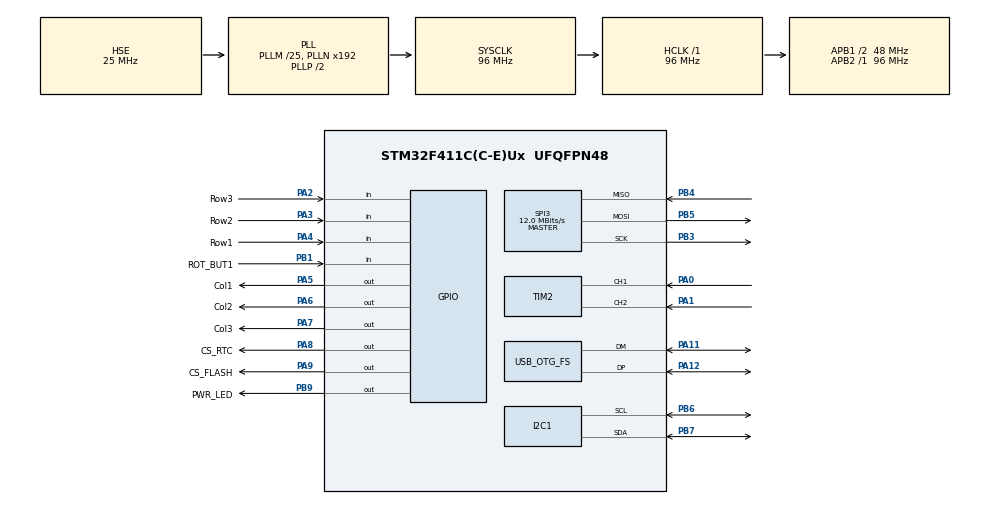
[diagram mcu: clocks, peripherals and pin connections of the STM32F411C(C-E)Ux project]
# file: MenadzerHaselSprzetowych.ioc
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I2C1.I2C_Mode=I2C_Fast
Mcu.Family=STM32F4
Mcu.Name=STM32F411C(C-E)Ux
Mcu.Package=UFQFPN48
NVIC.OTG_FS_IRQn=true\:0\:0\:false\:false\:true\:false\:true\:true
NVIC.PriorityGroup=NVIC_PRIORITYGROUP_4
PA0-WKUP.Signal=S_TIM2_CH1_ETR
PA1.Signal=S_TIM2_CH2
PA11.Mode=Device_Only
PA11.Signal=USB_OTG_FS_DM
PA12.Mode=Device_Only
PA12.Signal=USB_OTG_FS_DP
PA13.Mode=Serial_Wire
PA13.Signal=SYS_JTMS-SWDIO
PA14.Mode=Serial_Wire
PA14.Signal=SYS_JTCK-SWCLK
PA2.GPIO_Label=Row3
PA2.Signal=GPIO_Input
PA3.GPIO_Label=Row2
PA3.Signal=GPIO_Input
PA4.GPIO_Label=Row1
PA4.Signal=GPIO_Input
PA5.GPIO_Label=Col1
PA5.Signal=GPIO_Output
PA6.GPIO_Label=Col2
PA6.Signal=GPIO_Output
PA7.GPIO_Label=Col3
PA7.Signal=GPIO_Output
PA8.GPIO_Label=CS_RTC
PA8.Signal=GPIO_Output
PA9.GPIO_Label=CS_FLASH
PA9.Signal=GPIO_Output
PB1.GPIO_Label=ROT_BUT1
PB1.Signal=GPIO_Input
PB3.Mode=Full_Duplex_Master
PB3.Signal=SPI3_SCK
PB4.Mode=Full_Duplex_Master
PB4.Signal=SPI3_MISO
PB5.Mode=Full_Duplex_Master
PB5.Signal=SPI3_MOSI
PB6.GPIO_Pu=GPIO_NOPULL
PB6.Mode=I2C
PB6.Signal=I2C1_SCL
PB7.GPIO_Pu=GPIO_NOPULL
PB7.Mode=I2C
PB7.Signal=I2C1_SDA
PB9.GPIO_Label=PWR_LED
PB9.Signal=GPIO_Output
PC14-OSC32_IN.Mode=LSE-External-Oscillator
PC14-OSC32_IN.Signal=RCC_OSC32_IN
PC15-OSC32_OUT.Mode=LSE-External-Oscillator
PC15-OSC32_OUT.Signal=RCC_OSC32_OUT
PH0\ -\ OSC_IN.Mode=HSE-External-Oscillator
PH0\ -\ OSC_IN.Signal=RCC_OSC_IN
PH1\ -\ OSC_OUT.Mode=HSE-External-Oscillator
PH1\ -\ OSC_OUT.Signal=RCC_OSC_OUT
ProjectManager.HeapSize=0x200
ProjectManager.StackSize=0x400
ProjectManager.TargetToolchain=STM32CubeIDE
RCC.48MHZClocksFreq_Value=48000000
RCC.AHBFreq_Value=96000000
RCC.APB1CLKDivider=RCC_HCLK_DIV2
RCC.APB1Freq_Value=48000000
RCC.APB1TimFreq_Value=96000000
RCC.APB2Freq_Value=96000000
RCC.APB2TimFreq_Value=96000000
RCC.CortexFreq_Value=96000000
RCC.HCLKFreq_Value=96000000
RCC.HSE_VALUE=25000000
RCC.HSI_VALUE=16000000
RCC.PLLM=25
RCC.PLLSourceVirtual=RCC_PLLSOURCE_HSE
RCC.SYSCLKFreq_VALUE=96000000
RCC.SYSCLKSource=RCC_SYSCLKSOURCE_PLLCLK
RCC.VCOOutputFreq_Value=192000000
SH.S_TIM2_CH1_ETR.0=TIM2_CH1,Encoder_Interface
SH.S_TIM2_CH2.0=TIM2_CH2,Encoder_Interface
SPI3.BaudRatePrescaler=SPI_BAUDRATEPRESCALER_4
SPI3.CalculateBaudRate=12.0 MBits/s
SPI3.Direction=SPI_DIRECTION_2LINES
SPI3.Mode=SPI_MODE_MASTER
SPI3.VirtualType=VM_MASTER
TIM2.AutoReloadPreload=TIM_AUTORELOAD_PRELOAD_ENABLE
TIM2.EncoderMode=TIM_ENCODERMODE_TI12
TIM2.IC1Filter=10
TIM2.IC2Filter=10
USB_DEVICE.CLASS_NAME_FS=CUSTOM_HID
USB_DEVICE.PRODUCT_STRING_CUSTOMHID_FS=STM32 MHS Device
USB_DEVICE.VirtualMode=CustomHid
USB_DEVICE.VirtualModeFS=Custom_Hid_FS
USB_OTG_FS.VirtualMode=Device_Only
VP_USB_DEVICE_VS_USB_DEVICE_CUSTOM_HID_FS.Mode=CUSTOM_HID_FS
board=custom

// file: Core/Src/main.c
/* USER CODE BEGIN Header */
/**
 ******************************************************************************
 * @file           : main.c
 * @brief          : Main program body
 ******************************************************************************
 * @attention
 *
 * <h2><center>&copy; Copyright (c) 2022 STMicroelectronics.
 * All rights reserved.</center></h2>
 *
 * This software component is licensed by ST under BSD 3-Clause license,
 * the "License"; You may not use this file except in compliance with the
 * License. You may obtain a copy of the License at:
 *                        opensource.org/licenses/BSD-3-Clause
 *
 ******************************************************************************
 */
/* USER CODE END Header */
#include "main.h"
#include "i2c.h"
#include "spi.h"
#include "tim.h"
#include "usb_device.h"
#include "gpio.h"

/* USER CODE BEGIN Includes */
#include "fonts.h"
#include "ssd1306.h"

/* USER CODE END Includes */

/* USER CODE BEGIN PV */

int i=0;

/* USER CODE END PV */

void SystemClock_Config(void);
/* USER CODE BEGIN PFP */

void OLED_page_test_sc(){
	// OLED screen test
	SSD1306_Fill(SSD1306_COLOR_BLACK);
	SSD1306_GotoXY (4,6); // goto 10, 10
	SSD1306_Puts ("--MHS--", &Font_11x18, 1); // print Hello
	SSD1306_GotoXY (4,25); // goto 10, 10
	SSD1306_Puts ("PAGE", &Font_11x18, 1); // print Hello
	SSD1306_GotoXY (4,44); // goto 10, 10
	SSD1306_Puts ("NUMBER:", &Font_11x18, 1); // print Hello
	SSD1306_DrawLine(0, 1, 128, 1, SSD1306_COLOR_WHITE);
	SSD1306_DrawLine(0, 0, 0, 64, SSD1306_COLOR_WHITE);
	SSD1306_DrawLine(128, 0, 128, 64, SSD1306_COLOR_WHITE);
	SSD1306_DrawLine(0, 64, 128, 64, SSD1306_COLOR_WHITE);
	SSD1306_DrawRectangle(100, 2, 27, 62, SSD1306_COLOR_WHITE);
	SSD1306_GotoXY (110,25); // goto 10, 10
	SSD1306_Putc ((char)(i+1+'0'), &Font_11x18, 1); // print Hello
	SSD1306_UpdateScreen(); // update screen
	if(i==8)
		i=0;
	else
		i++;
	HAL_Delay(1000);
}

/* USER CODE END PFP */

int main(void)
{

  /* MCU Configuration--------------------------------------------------------*/

  /* Reset of all peripherals, Initializes the Flash interface and the Systick. */
  HAL_Init();

  /* Configure the system clock */
  SystemClock_Config();

  /* Initialize all configured peripherals */
  MX_GPIO_Init();
  MX_I2C1_Init();
  MX_TIM2_Init();
  MX_SPI3_Init();
  MX_USB_DEVICE_Init();
  /* USER CODE BEGIN 2 */
	SSD1306_Init();

  /* USER CODE END 2 */

  /* Infinite loop */
  /* USER CODE BEGIN WHILE */
	while (1)
	{
		OLED_page_test_sc();
    /* USER CODE END WHILE */

	}
}

void SystemClock_Config(void)
{
  RCC_OscInitTypeDef RCC_OscInitStruct = {0};
  RCC_ClkInitTypeDef RCC_ClkInitStruct = {0};

  /** Configure the main internal regulator output voltage
  */
  __HAL_RCC_PWR_CLK_ENABLE();
  __HAL_PWR_VOLTAGESCALING_CONFIG(PWR_REGULATOR_VOLTAGE_SCALE1);
  /** Initializes the RCC Oscillators according to the specified parameters
  * in the RCC_OscInitTypeDef structure.
  */
  RCC_OscInitStruct.OscillatorType = RCC_OSCILLATORTYPE_HSE;
  RCC_OscInitStruct.HSEState = RCC_HSE_ON;
  RCC_OscInitStruct.PLL.PLLState = RCC_PLL_ON;
  RCC_OscInitStruct.PLL.PLLSource = RCC_PLLSOURCE_HSE;
  RCC_OscInitStruct.PLL.PLLM = 25;
  RCC_OscInitStruct.PLL.PLLN = 192;
  RCC_OscInitStruct.PLL.PLLP = RCC_PLLP_DIV2;
  RCC_OscInitStruct.PLL.PLLQ = 4;
  if (HAL_RCC_OscConfig(&RCC_OscInitStruct) != HAL_OK)
  {
    Error_Handler();
  }
  /** Initializes the CPU, AHB and APB buses clocks
  */
  RCC_ClkInitStruct.ClockType = RCC_CLOCKTYPE_HCLK|RCC_CLOCKTYPE_SYSCLK
                              |RCC_CLOCKTYPE_PCLK1|RCC_CLOCKTYPE_PCLK2;
  RCC_ClkInitStruct.SYSCLKSource = RCC_SYSCLKSOURCE_PLLCLK;
  RCC_ClkInitStruct.AHBCLKDivider = RCC_SYSCLK_DIV1;
  RCC_ClkInitStruct.APB1CLKDivider = RCC_HCLK_DIV2;
  RCC_ClkInitStruct.APB2CLKDivider = RCC_HCLK_DIV1;

  if (HAL_RCC_ClockConfig(&RCC_ClkInitStruct, FLASH_LATENCY_3) != HAL_OK)
  {
    Error_Handler();
  }
}

void Error_Handler(void)
{
	__disable_irq();
	while (1)
	{
	}
}

/************************ (C) COPYRIGHT STMicroelectronics *****END OF FILE****/
